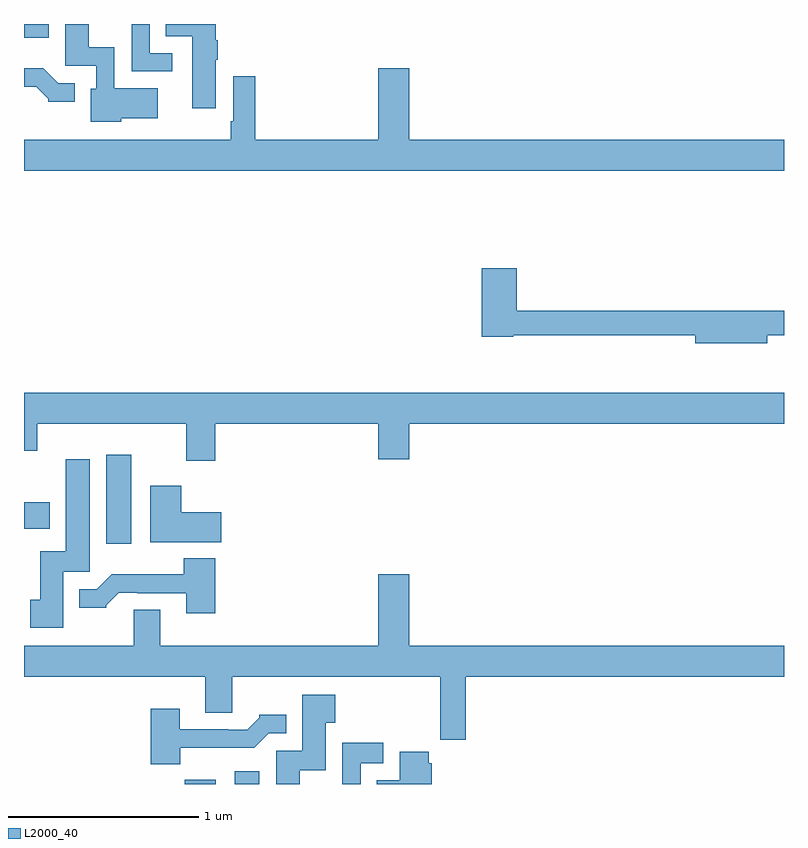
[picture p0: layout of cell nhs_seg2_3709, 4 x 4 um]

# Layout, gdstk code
import gdstk
lib = gdstk.Library(unit=1e-6, precision=1e-09)
def R(c, l, rs):  # rectangles x0, y0, x1, y1
    for r in rs: c.add(gdstk.rectangle(r[:2], r[2:], *l))
def P(c, l, *ps):  # polygons
    for p in ps: c.add(gdstk.Polygon(p, *l))
L2000_40 = (2000, 40)

nhs_seg2_3709 = lib.new_cell('nhs_seg2_3709')
R(nhs_seg2_3709, L2000_40, [(307.846,585.8,308.008,585.823), (308.108,585.8,308.239,585.868), (307.433,587.064,307.564,587.533), (307,587.144,307.135,587.284), (307,589.728,307.129,589.8)])
P(nhs_seg2_3709, L2000_40, [(308.008,589.612),(308.021,589.612),(308.021,589.715),(308.008,589.715),(308.008,589.8),(307.747,589.8),(307.747,589.736),(307.886,589.736),(307.886,589.356),(308.008,589.356)],
  [(307.78,589.647),(307.662,589.647),(307.662,589.8),(307.566,589.8),(307.566,589.551),(307.78,589.551)],
  [(307.512,589.304),(307.705,589.304),(307.705,589.462),(307.476,589.462),(307.476,589.678),(307.342,589.678),(307.342,589.8),(307.217,589.8),(307.217,589.581),(307.38,589.581),(307.38,589.458),(307.352,589.458),(307.352,589.286),(307.512,589.286)],
  [(311,589.192),(309.028,589.192),(309.028,589.567),(308.864,589.567),(308.864,589.192),(308.216,589.192),(308.216,589.525),(308.1,589.525),(308.1,589.288),(308.088,589.288),(308.088,589.192),(307,589.192),(307,589.028),(311,589.028)],
  [(307.267,589.488),(307.179,589.488),(307.101,589.567),(307,589.567),(307,589.47),(307.064,589.47),(307.128,589.406),(307.128,589.391),(307.267,589.391)],
  [(310.912,588.162),(311,588.162),(311,588.29),(309.593,588.29),(309.593,588.514),(309.41,588.514),(309.41,588.154),(309.576,588.154),(309.576,588.162),(310.532,588.162),(310.532,588.119),(310.912,588.119)],
  [(308.006,587.696),(308.864,587.696),(308.864,587.508),(309.028,587.508),(309.028,587.696),(311,587.696),(311,587.86),(307,587.86),(307,587.555),(307.07,587.555),(307.07,587.696),(307.853,587.696),(307.853,587.502),(308.006,587.502)],
  [(307.207,586.917),(307.345,586.917),(307.345,587.509),(307.22,587.509),(307.22,587.026),(307.085,587.026),(307.085,586.77),(307.034,586.77),(307.034,586.622),(307.207,586.622)],
  [(308.038,587.23),(307.828,587.23),(307.828,587.371),(307.664,587.371),(307.664,587.072),(308.038,587.072)],
  [(308.006,586.987),(307.841,586.987),(307.841,586.903),(307.462,586.903),(307.383,586.824),(307.292,586.824),(307.292,586.727),(307.434,586.727),(307.434,586.742),(307.498,586.806),(307.597,586.806),(307.597,586.803),(307.853,586.803),(307.853,586.698),(308.006,586.698)],
  [(309.326,586.364),(311,586.364),(311,586.528),(309.028,586.528),(309.028,586.903),(308.864,586.903),(308.864,586.528),(307.717,586.528),(307.717,586.718),(307.577,586.718),(307.577,586.528),(307,586.528),(307,586.364),(307.955,586.364),(307.955,586.174),(308.095,586.174),(308.095,586.364),(309.19,586.364),(309.19,586.032),(309.326,586.032)],
  [(308.452,585.872),(308.587,585.872),(308.587,586.123),(308.639,586.123),(308.639,586.27),(308.465,586.27),(308.465,585.975),(308.327,585.975),(308.327,585.8),(308.452,585.8)],
  [(307.822,585.992),(308.213,585.992),(308.289,586.068),(308.38,586.068),(308.38,586.165),(308.238,586.165),(308.238,586.15),(308.174,586.086),(308.075,586.086),(308.075,586.089),(307.819,586.089),(307.819,586.195),(307.667,586.195),(307.667,585.905),(307.822,585.905)],
  [(308.772,585.909),(308.89,585.909),(308.89,586.018),(308.676,586.018),(308.676,585.8),(308.772,585.8)],
  [(309.147,585.909),(309.131,585.909),(309.131,585.97),(308.978,585.97),(308.978,585.82),(308.857,585.82),(308.857,585.8),(309.147,585.8)])

lib.write_gds('nhs_seg2_3709.gds')
